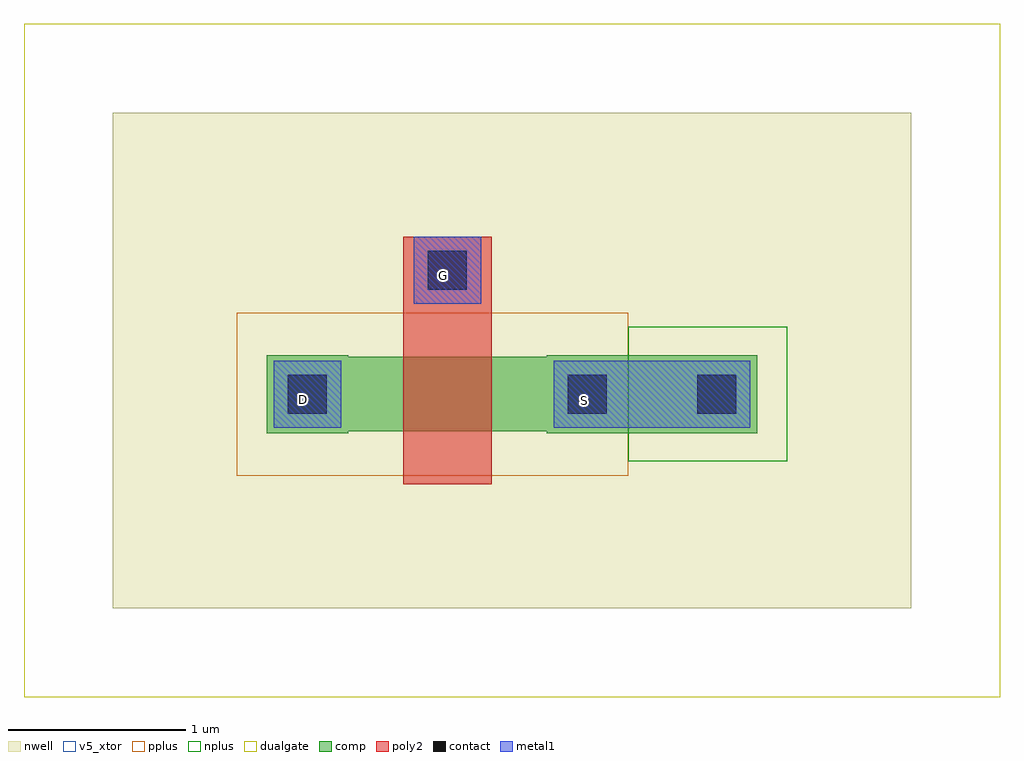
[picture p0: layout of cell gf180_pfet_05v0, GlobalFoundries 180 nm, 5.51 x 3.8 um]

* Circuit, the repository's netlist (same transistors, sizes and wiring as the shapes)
* Extracted by KLayout with GF180MCU LVS runset on : 18/08/2026 14:21

* cell gf180_pfet_05v0
* pin B
* pin D
* pin G
* pin S
.SUBCKT gf180_pfet_05v0 B D G S
* device instance $1 r0 *1 2.39,1.71 pfet_05v0
M$1 S G D B pfet_05v0 L=0.5U W=0.42U AS=0.3326P AD=0.3326P PS=2.42U PD=2.42U
.ENDS gf180_pfet_05v0

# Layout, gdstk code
import gdstk
lib = gdstk.Library(unit=1e-6, precision=1e-09)
def R(c, l, rs):  # rectangles x0, y0, x1, y1
    for r in rs: c.add(gdstk.rectangle(r[:2], r[2:], *l))
def P(c, l, *ps):  # polygons
    for p in ps: c.add(gdstk.Polygon(p, *l))
nwell = (21, 0)
comp = (22, 0)
poly2 = (30, 0)
pplus = (31, 0)
nplus = (32, 0)
contact = (33, 0)
metal1 = (34, 0)
dualgate = (55, 0)
v5_xtor = (112, 1)

pfet = lib.new_cell('pfet')
R(pfet, nwell, [(-1.33,-1,3.18,1.8)])
P(pfet, comp, [(-0.46,-0.01),(-0.46,0.43),(0,0.43),(0,0.42),(1.12,0.42),(1.12,0.43),(2.31,0.43),(2.31,-0.01),(1.12,-0.01),(1.12,0),(0,0),(0,-0.01)])
R(pfet, poly2, [(0.31,-0.3,0.81,1.1)])
R(pfet, pplus, [(-0.63,-0.25,1.58,0.67)])
R(pfet, nplus, [(1.58,-0.17,2.48,0.59)])
R(pfet, contact, [(-0.34,0.1,-0.12,0.32), (1.24,0.1,1.46,0.32), (1.97,0.1,2.19,0.32), (0.45,0.8,0.67,1.02)])
R(pfet, metal1, [(-0.42,0.02,-0.04,0.4), (1.16,0.02,1.54,0.4), (1.89,0.02,2.27,0.4), (0.37,0.72,0.75,1.1)])
R(pfet, dualgate, [(-1.83,-1.5,3.68,2.3)])
R(pfet, v5_xtor, [(-1.83,-1.5,3.68,2.3)])

gf180_pfet_05v0 = lib.new_cell('gf180_pfet_05v0')
gf180_pfet_05v0.add(gdstk.FlexPath([(3.37,1.71),(3.72,1.71)], 0.38, ends="flush", simple_path=True, layer=34, datatype=0))  # metal1
gf180_pfet_05v0.add(gdstk.Reference(pfet, (1.83,1.5)))
gf180_pfet_05v0.add(gdstk.Label('G', (2.37,2.38), layer=34, texttype=10))
gf180_pfet_05v0.add(gdstk.Label('D', (1.58,1.68), layer=34, texttype=10))
gf180_pfet_05v0.add(gdstk.Label('S', (3.165,1.675), layer=34, texttype=10))

lib.write_gds('gf180_pfet_05v0.gds')
